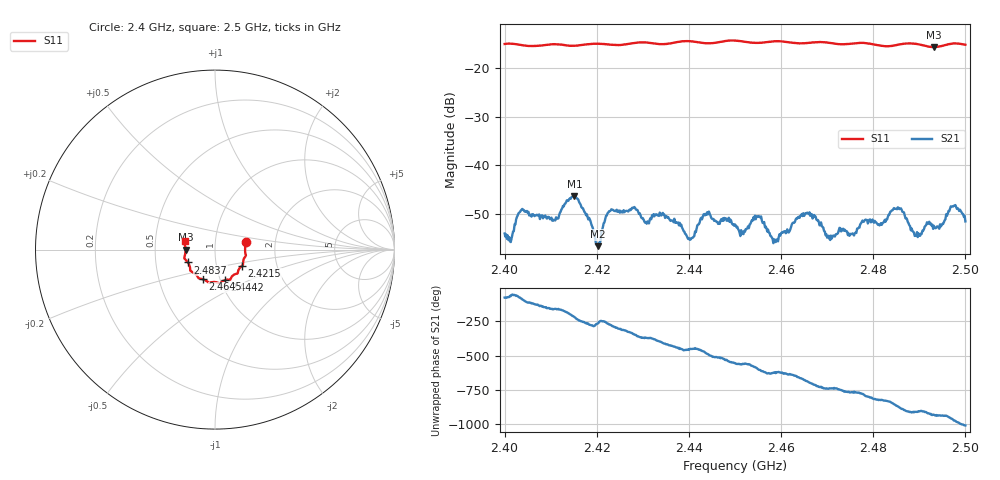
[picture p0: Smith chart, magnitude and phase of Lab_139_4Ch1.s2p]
# Hz S RI R 50
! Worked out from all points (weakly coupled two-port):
!   601 points, 2.4 GHz to 2.5 GHz, reference 50 ohm
!   highest |S21| = -46.27 dB at 2.4152 GHz (marker M1); lowest = -56.6 dB at 2.4203 GHz (marker M2)
!   lowest |S11| = -15.7 dB at 2.4932 GHz (marker M3), VSWR 1.39, Z = 35.9 - j0.0487 ohm
!   |S11| at or under -10 dB: start of sweep to end of sweep
!   S12 and S22 are empty: the file has one direction only
!   S11 on the Smith chart (normalised r, x): 2.4 GHz: 1.41, +0.12; 2.4215 GHz: 1.33, -0.25; 2.4442 GHz: 1.05, -0.37; 2.4645 GHz: 0.83, -0.29; 2.4837 GHz: 0.73, -0.11; 2.5 GHz: 0.71, +0.07
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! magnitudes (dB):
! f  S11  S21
! 2.4 GHz  -15.1  -54.0
! 2.4037 GHz  -15.3  -49.1
! 2.4108 GHz  -15.1  -51.2
! 2.4152 GHz  -15.5  -46.3
! 2.4167 GHz  -15.3  -48.6
! 2.4203 GHz  -15.0  -56.6
! 2.4215 GHz  -15.1  -51.9
! 2.4333 GHz  -15.1  -50.3
! 2.4403 GHz  -14.5  -55.2
! 2.4442 GHz  -15.0  -50.0
! 2.45 GHz  -14.4  -52.1
! 2.4552 GHz  -14.9  -50.4
! 2.4588 GHz  -14.5  -55.7
! 2.4645 GHz  -15.0  -50.0
! 2.4667 GHz  -14.8  -50.0
! 2.4705 GHz  -14.9  -55.1
! 2.4833 GHz  -15.6  -50.1
! 2.4837 GHz  -15.5  -49.6
! 2.4895 GHz  -15.1  -53.7
! 2.4932 GHz  -15.7  -52.4
! 2.4973 GHz  -15.0  -48.5
! 2.5 GHz  -15.3  -51.5
